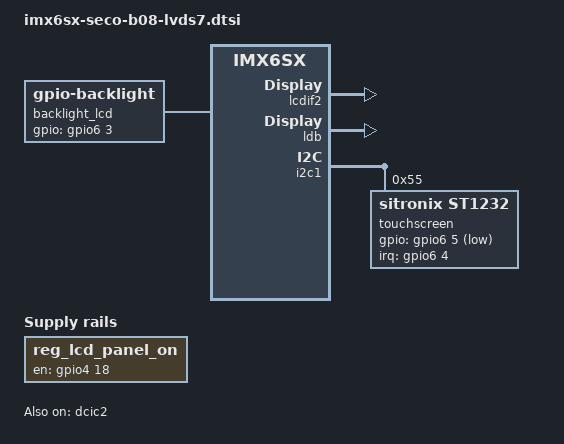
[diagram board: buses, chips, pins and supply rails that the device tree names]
/*
* Author: Giuseppe Pagano <giuseppe.pagano@seco.com>
*
* This program is free software; you can redistribute it and/or modify
* it under the terms of the GNU General Public License version 2 as
* published by the Free Software Foundation.
*
*
*/

#include "imx6sx-seco-b08.dtsi"

/ {
        backlight_lcd {
                compatible = "gpio-backlight";
                gpios = <&gpio6 3 GPIO_ACTIVE_HIGH>;
                default-on;
                status = "okay";
        };

  
                  reg_lcd_panel_on: lcd_pon {
                          compatible = "regulator-fixed";
                          regulator-name = "LCD PANEL_ON";
                          gpio = <&gpio4 18 GPIO_ACTIVE_HIGH>;
                          enable-active-high;
                  };

};

&lcdif2 {
	display = <&display0>;
	disp-dev = "ldb";
	lcd-supply = <&reg_lcd_panel_on>;
	status = "okay";

	display0: display {
		bits-per-pixel = <16>;
		bus-width = <18>;
	};
};

&ldb {
	pinctrl-names = "default";
	pinctrl-0 = <&pinctrl_ldb_0>;
	status = "okay";

	lvds-channel@0 {
		fsl,data-mapping = "spwg";
		fsl,data-width = <18>;
		crtc = "lcdif2";
		status = "okay";
		
		display-timings {
			native-mode = <&timing2>;
			timing2: LDB-WVGA {
				clock-frequency = <33660000>;
				hactive = <800>;
				vactive = <480>;
				hback-porch = <56>;
				hfront-porch = <50>;
				vback-porch = <23>;
				vfront-porch = <20>;
				hsync-len = <150>;
				vsync-len = <2>;
			};
		};
	};
};

&i2c1 {
	touchscreen: st1232@55 {
		pinctrl-names = "default";
		pinctrl-0 = <&pinctrl_st1232>;
		compatible = "sitronix,st1232";
		reg = <0x55>;
		interrupt-parent = <&gpio6>;
		interrupts = <4 IRQ_TYPE_LEVEL_LOW>;
		gpios = <&gpio6 5 GPIO_ACTIVE_LOW>;
	};
};


&dcic2 {
	dcic_id = <1>;
	dcic_mux = "dcic-lvds";
	status = "okay";
};
